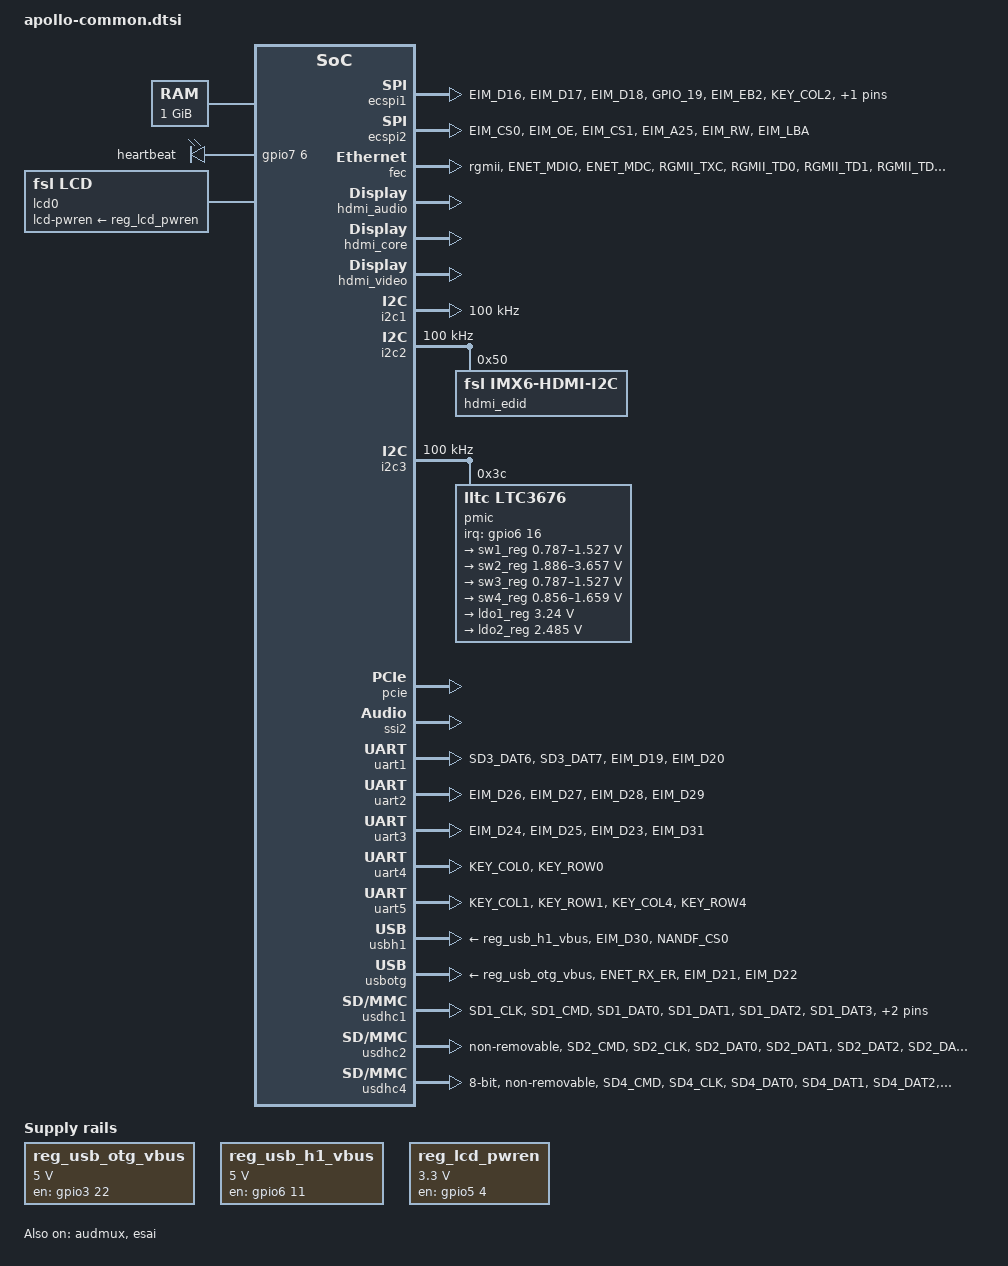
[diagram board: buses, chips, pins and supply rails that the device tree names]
/*
 * Copyright 2012 Freescale Semiconductor, Inc.
 * Copyright 2011 Linaro Ltd.
 *
 * The code contained herein is licensed under the GNU General Public
 * License. You may obtain a copy of the GNU General Public License
 * Version 2 or later at the following locations:
 *
 * http://www.opensource.org/licenses/gpl-license.html
 * http://www.gnu.org/copyleft/gpl.html
 */

#include <dt-bindings/interrupt-controller/irq.h>
#include "silverbullet-pinctrl.h"

/ {
	aliases {
		mxcfb0 = &mxcfb1;
		mxcfb1 = &mxcfb2;
		mxcfb2 = &mxcfb3;
		mxcfb3 = &mxcfb4;
	};

	memory {
		reg = <0x10000000 0x40000000>;
	};

	cpu-leds {
		compatible = "gpio-leds";

		heartbeat {
			label = "heartbeat";
			gpios = <&gpio7 6 0>;
			linux,default-trigger = "heartbeat";
			default-state = "off";
		};
	};

	regulators {
		compatible = "simple-bus";

		reg_usb_otg_vbus: usb_otg_vbus {
			compatible = "regulator-fixed";
			regulator-name = "usb_otg_vbus";
			regulator-min-microvolt = <5000000>;
			regulator-max-microvolt = <5000000>;
			gpio = <&gpio3 22 0>;
			enable-active-high;
		};

		reg_usb_h1_vbus: usb_h1_vbus {
			compatible = "regulator-fixed";
			regulator-name = "usb_h1_vbus";
			regulator-min-microvolt = <5000000>;
			regulator-max-microvolt = <5000000>;
			gpio = <&gpio6 11 0>;
			enable-active-high;
		};

		reg_lcd_pwren: lcd_pwren {
			compatible = "regulator-fixed";
			regulator-name = "lcd_pwren";
			regulator-min-microvolt = <3300000>;
			regulator-max-microvolt = <3300000>;
			gpio = <&gpio5 4 0>;
			enable-active-high;
		};

		reg_3v3_ldo: ldo0 {
			regulator-min-microvolt = <3300000>;
			regulator-max-microvolt = <3300000>;
			regulator-always-on;
		};

		reg_3v3_sd: dcdc1 {
			regulator-min-microvolt = <3300000>;
			regulator-max-microvolt = <3300000>;
			regulator-always-on;
		};
	};

	sound-hdmi {
		compatible = "fsl,imx6q-audio-hdmi", "fsl,imx-audio-hdmi";
		model = "imx-audio-hdmi";
		hdmi-controller = <&hdmi_audio>;
	};

	mxcfb1: fb@0 {
		compatible = "fsl,mxc_sdc_fb";
		disp_dev = "lcd";
		interface_pix_fmt = "RGB24";
		mode_str ="SAMSUNG-LMS700";
		default_bpp = <16>;
		int_clk = <0>;
		late_init = <0>;
		status = "ok";
	};

	mxcfb2: fb@1 {
		compatible = "fsl,mxc_sdc_fb";
		disp_dev = "hdmi";
		interface_pix_fmt = "RGB24";
		mode_str ="1920x1080M@60";
		default_bpp = <24>;
		int_clk = <0>;
		late_init = <0>;
		status = "ok";
	};

	mxcfb3: fb@2 {
		compatible = "fsl,mxc_sdc_fb";
		disp_dev = "lcd";
		interface_pix_fmt = "RGB565";
		mode_str ="CLAA-WVGA";
		default_bpp = <16>;
		int_clk = <0>;
		late_init = <0>;
		status = "disabled";
	};

	mxcfb4: fb@3 {
		compatible = "fsl,mxc_sdc_fb";
		disp_dev = "ldb";
		interface_pix_fmt = "RGB666";
		mode_str ="LDB-XGA";
		default_bpp = <16>;
		int_clk = <0>;
		late_init = <0>;
		status = "disabled";
	};

	lcd0: lcd@0 {
		compatible = "fsl,lcd";
		ipu_id = <0>;
		disp_id = <0>;
		default_ifmt = "RGB24";
		pinctrl-names = "default";
		pinctrl-0 = <&pinctrl_lcd>;
		lcd-pwren-supply = <&reg_lcd_pwren>;
		status = "okay";
	};

	v4l2_cap_0 {
		compatible = "fsl,imx6q-v4l2-capture";
		ipu_id = <0>;
		csi_id = <0>;
		mclk_source = <0>;
		status = "okay";
	};

	/* //!!
	v4l2_cap_1 {
		compatible = "fsl,imx6q-v4l2-capture";
		ipu_id = <0>;
		csi_id = <1>;
		mclk_source = <0>;
		status = "okay";
	};
	*/

	v4l2_out {
		compatible = "fsl,mxc_v4l2_output";
		status = "okay";
	};
};

&audmux {
	pinctrl-names = "default";
	pinctrl-0 = <&pinctrl_audmux>;
	status = "okay";
};

&cpu0 {
	arm-supply = <&sw3_reg>;
	soc-supply = <&sw1_reg>;
	pu-supply = <&reg_pu>; /* ldo-bypass */
};

&ecspi1 {
	fsl,spi-num-chipselects = <3>;
	cs-gpios = <&gpio2 30 0>, <&gpio4 10 0>, <&gpio4 11 0>;
	pinctrl-names = "default";
	pinctrl-0 = <&pinctrl_ecspi1>;
	status = "okay";
};

&ecspi2 {
	fsl,spi-num-chipselects = <2>;
	cs-gpios = <&gpio2 26 0>, <&gpio2 27 0>;
	pinctrl-names = "default";
	pinctrl-0 = <&pinctrl_ecspi2>;
	status = "okay";
};

&esai {
	pinctrl-names = "default";
	pinctrl-0 = <&pinctrl_esai>;
	status = "okay";
};

&fec {
	pinctrl-names = "default";
	pinctrl-0 = <&pinctrl_enet>;
	phy-mode = "rgmii";
	//phy-reset-gpios = <&gpio1 28 0>;	// let the reset task to U-Boot
	//phy-reset-duration = <100>;		// or phy won't work correctly!
	status = "okay";
};

&gpc {
	fsl,cpu_pupscr_sw2iso = <0xf>;
	fsl,cpu_pupscr_sw = <0xf>;
	fsl,cpu_pdnscr_iso2sw = <0x1>;
	fsl,cpu_pdnscr_iso = <0x1>;
	fsl,ldo-bypass = <1>; /* use ldo-bypass, u-boot will check it and configure */
	fsl,wdog-reset = <1>; /* watchdog select of reset source */
	pu-supply = <&reg_pu>; /* ldo-bypass:use pu_dummy if VDDSOC share with VDDPU */
};


//!!
//&gpu {
//	pu-supply = <&reg_pu>; /* ldo-bypass:use pu_dummy if VDDSOC share with VDDPU */
//};

&hdmi_audio {
	status = "okay";
};

&hdmi_core {
	ipu_id = <0>;
	disp_id = <1>;
	status = "okay";
};

&hdmi_video {
	fsl,phy_reg_vlev = <0x0294>;
	fsl,phy_reg_cksymtx = <0x800d>;
	status = "okay";
};

//!!
//&hdmi {
//	pinctrl-names = "default";
//	pinctrl-0 = <&pinctrl_hdmi>;
//	ddc-i2c-bus = <&i2c2>;
//	status = "okay";
//};

&ldb {
	ipu_id = <0>;
	disp_id = <1>;
	ext_ref = <1>;
	mode = "sep1";
	sec_ipu_id = <1>;
	sec_disp_id = <0>;
	/* status = "okay"; */
};

&i2c1 {
	clock-frequency = <100000>;
	pinctrl-names = "default";
	/* pinctrl-0 = <&pinctrl_i2c1_2>; */
	status = "okay";

	/*
	clicktouch_ts@1f {
		compatible = "clicktouch_ts";
		reg = <0x1f>;
	};
	*/

	/*
	isl29023@44 {
		compatible = "fsl,isl29023";
		reg = <0x44>;
		rext = <100>;
		vdd-supply = <&reg_3v3_ldo>;
		//interrupt-parent = <&id95apm>;// FIXME: need idt gpio irq
		//interrupts = <1 IRQ_TYPE_EDGE_FALLING>;
	};
	*/


        /*
	adv7180: adv7180@21 {
		compatible = "adv,adv7180";
		reg = <0x21>;
		pinctrl-names = "default";
		pinctrl-0 = <&pinctrl_csi>;
		clocks = <&clks 201>;
		clock-names = "csi_mclk";
		DOVDD-supply = <&reg_3p3v>;
		AVDD-supply = <&reg_1p8v>;
		DVDD-supply = <&reg_1p8v>;
		PVDD-supply = <&reg_1p8v>;
		prst-gpios = <&gpio5 29 1>;
		csi_id = <0>;
		mclk = <24000000>;
		mclk_source = <0>;
		cvbs = <1>;

		port {
			adv7180_1: endpoint {
				remote-endpoint = <&csi0>;
				bus-width = <8>;
				data-shift = <12>;
				hsync-active = <1>;
				vsync-active = <1>;
				inputs = <0x00>;
				input-names = "ADV7180 composite on AIN1";
			};
		};
	};
        */

};

&i2c2 {
	clock-frequency = <100000>;
	pinctrl-names = "default";
	/* //!! pinctrl-0 = <&pinctrl_i2c2_2>; */
	status = "okay";

	hdmi_edid: edid@50 {
		compatible = "fsl,imx6-hdmi-i2c";
		reg = <0x50>;
	};
};

&i2c3 {
	clock-frequency = <100000>;
	pinctrl-names = "default";
	/* //!! pinctrl-0 = <&pinctrl_i2c3_2>; */
	status = "okay";

	pmic: ltc3676@3c {						// Power Management LTC3676EUJ#PBF
		compatible = "lltc,ltc3676";
 		reg = <0x3c>;

		interrupt-parent = <&gpio6>;
		interrupts = <16 2>;
 
 		regulators {
			/* VCC_SOC */
			sw1_reg: sw1 {
				regulator-min-microvolt = <787500>;
				regulator-max-microvolt = <1527272>;
				lltc,fb-voltage-divider = <178000 200000>;
				regulator-suspend-mem-microvolt = <1040000>;
				regulator-ramp-delay = <7000>;
 				regulator-boot-on;
 				regulator-always-on;
 			};

			/* VCC_3V3 */
			sw2_reg: sw2 {
				regulator-min-microvolt = <1885714>;
				regulator-max-microvolt = <3657142>;
				lltc,fb-voltage-divider = <100000 28000>;
				regulator-ramp-delay = <7000>;
 				regulator-boot-on;
 				regulator-always-on;
 			};

			/* VCC_ARM */
			sw3_reg: sw3 {
				regulator-min-microvolt = <787500>;
				regulator-max-microvolt = <1527272>;
				lltc,fb-voltage-divider = <178000 200000>;
				regulator-suspend-mem-microvolt = <980000>;
				regulator-ramp-delay = <7000>;
 				regulator-boot-on;
 				regulator-always-on;
 			};

			/* VCC_DDR3 */	
			sw4_reg: sw4 {
				regulator-min-microvolt = <855571>;
				regulator-max-microvolt = <1659291>;
				lltc,fb-voltage-divider = <100000 93100>;
				regulator-ramp-delay = <7000>;
 				regulator-boot-on;
 				regulator-always-on;
 			};

			/* VCC_SNVS */
			ldo1_reg: ldo1 {
				regulator-min-microvolt = <3240306>;
				regulator-max-microvolt = <3240306>;
				lltc,fb-voltage-divider = <102000 29400>;
 				regulator-boot-on;
 				regulator-always-on;
 			};

			/* VCC_2V5_LDO2 */
			ldo2_reg: ldo2 {
				regulator-min-microvolt = <2484708>;
				regulator-max-microvolt = <2484708>;
				lltc,fb-voltage-divider = <100000 41200>;
				regulator-boot-on;
				regulator-always-on;
 			};
 		};
	};
};

&iomuxc {
	pinctrl-names = "default";
	pinctrl-0 = <&pinctrl_hog>;

	silverbullet {
		pinctrl_hog: hoggrp {
			fsl,pins = <
				MX6QDL_PAD_GPIO_0__CCM_CLKO1            0x030b0		// SGTL5000 sys_mclk
				MX6QDL_PAD_NANDF_D0__GPIO2_IO00		PAD_CTL_NONE	// GPIO/nIRQ0
				MX6QDL_PAD_NANDF_D1__GPIO2_IO01		PAD_CTL_NONE	// GPIO/nIRQ1
				MX6QDL_PAD_NANDF_D2__GPIO2_IO02		PAD_CTL_NONE	// GPIO/nIRQ2
				MX6QDL_PAD_NANDF_D3__GPIO2_IO03		PAD_CTL_NONE	// GPIO/nIRQ3
				MX6QDL_PAD_NANDF_D4__GPIO2_IO04		PAD_CTL_NONE	// GPIO/nIRQ4
				MX6QDL_PAD_NANDF_D5__GPIO2_IO05		PAD_CTL_NONE	// GPIO/nIRQ5
				MX6QDL_PAD_NANDF_D6__GPIO2_IO06		PAD_CTL_NONE	// GPIO/nIRQ6
				MX6QDL_PAD_NANDF_D7__GPIO2_IO07		PAD_CTL_NONE	// GPIO/nIRQ7
				MX6QDL_PAD_NANDF_CLE__GPIO6_IO07	PAD_CTL_NONE	// GPIO8
				MX6QDL_PAD_NANDF_WP_B__GPIO6_IO09	PAD_CTL_NONE	// GPIO9
				MX6QDL_PAD_NANDF_RB0__GPIO6_IO10	PAD_CTL_NONE	// GPIO10
				/* MX6QDL_PAD_CSI0_DATA_EN__GPIO5_IO20	PAD_CTL_NONE	// GPIO11 */ //!!
				MX6QDL_PAD_SD3_DAT2__GPIO7_IO06		PAD_CTL_NONE	// GPIO12
				MX6QDL_PAD_SD3_DAT3__GPIO7_IO07		PAD_CTL_NONE	// GPIO13
				MX6QDL_PAD_SD3_DAT4__GPIO7_IO01		PAD_CTL_NONE	// GPIO14
				MX6QDL_PAD_SD3_DAT5__GPIO7_IO00		PAD_CTL_NONE	// GPIO15
				MX6QDL_PAD_NANDF_CS3__GPIO6_IO16	PAD_CTL_NONE	// LTC3676 irq
				MX6QDL_PAD_SD3_RST__GPIO7_IO08		PAD_CTL_NONE	// ID95APM irq
				MX6QDL_PAD_EIM_EB0__GPIO2_IO28		PAD_CTL_NONE	// SYS_ALIVE
				MX6QDL_PAD_EIM_EB1__GPIO2_IO29		PAD_CTL_NONE	// PSWITCH_PULSE
				MX6QDL_PAD_DI0_PIN4__GPIO4_IO20		PAD_CTL_NONE	// LVDS backlight control
				MX6QDL_PAD_ENET_TXD1__GPIO1_IO29	PAD_CTL_NONE	// UART5 DTR
				MX6QDL_PAD_EIM_A16__GPIO2_IO22		PAD_CTL_NONE	// UART5 DCD
				MX6QDL_PAD_EIM_A17__GPIO2_IO21		PAD_CTL_NONE	// UART5 RI
				MX6QDL_PAD_EIM_A19__GPIO2_IO19		PAD_CTL_NONE	// UART5 DSR
			>;
		};

		pinctrl_audmux: audmuxgrp {
			fsl,pins = <
				MX6QDL_PAD_CSI0_DAT4__AUD3_TXC		SILVERBULLET_PAD_CTRL_AUD
				MX6QDL_PAD_CSI0_DAT5__AUD3_TXD		SILVERBULLET_PAD_CTRL_AUD
				MX6QDL_PAD_CSI0_DAT6__AUD3_TXFS		SILVERBULLET_PAD_CTRL_AUD
				MX6QDL_PAD_CSI0_DAT7__AUD3_RXD		SILVERBULLET_PAD_CTRL_AUD
			>;
		};

		pinctrl_esai: esaigrp {
			fsl,pins = <
				MX6QDL_PAD_EIM_BCLK__GPIO6_IO31		PAD_CTL_NONE	// reset
				MX6QDL_PAD_ENET_CRS_DV__ESAI_TX_CLK	SILVERBULLET_PAD_CTL_ESAI
				MX6QDL_PAD_GPIO_1__ESAI_RX_CLK		SILVERBULLET_PAD_CTL_ESAI
				MX6QDL_PAD_GPIO_2__ESAI_TX_FS		SILVERBULLET_PAD_CTL_ESAI
				MX6QDL_PAD_GPIO_5__ESAI_TX2_RX3		SILVERBULLET_PAD_CTL_ESAI
				MX6QDL_PAD_GPIO_7__ESAI_TX4_RX1		SILVERBULLET_PAD_CTL_ESAI
				MX6QDL_PAD_GPIO_8__ESAI_TX5_RX0		SILVERBULLET_PAD_CTL_ESAI
				MX6QDL_PAD_GPIO_9__ESAI_RX_FS		SILVERBULLET_PAD_CTL_ESAI
				MX6QDL_PAD_GPIO_17__ESAI_TX0		SILVERBULLET_PAD_CTL_ESAI
				MX6QDL_PAD_GPIO_18__ESAI_TX1		SILVERBULLET_PAD_CTL_ESAI
			>;
		};

		pinctrl_ecspi1: ecspi1grp {
			fsl,pins = <
				MX6QDL_PAD_EIM_D16__ECSPI1_SCLK		SILVERBULLET_PAD_CTRL_ECSPI
				MX6QDL_PAD_EIM_D17__ECSPI1_MISO		SILVERBULLET_PAD_CTRL_ECSPI
				MX6QDL_PAD_EIM_D18__ECSPI1_MOSI		SILVERBULLET_PAD_CTRL_ECSPI
				MX6QDL_PAD_GPIO_19__ECSPI1_RDY		SILVERBULLET_PAD_CTRL_ECSPI
				MX6QDL_PAD_EIM_EB2__GPIO2_IO30		SILVERBULLET_PAD_CTRL_ECSPI
				MX6QDL_PAD_KEY_COL2__GPIO4_IO10		SILVERBULLET_PAD_CTRL_ECSPI
				MX6QDL_PAD_KEY_ROW2__GPIO4_IO11		SILVERBULLET_PAD_CTRL_ECSPI
			>;
		};

		pinctrl_ecspi2: ecspi2grp {
			fsl,pins = <
				MX6QDL_PAD_EIM_CS0__ECSPI2_SCLK		SILVERBULLET_PAD_CTRL_ECSPI
				MX6QDL_PAD_EIM_OE__ECSPI2_MISO		SILVERBULLET_PAD_CTRL_ECSPI
				MX6QDL_PAD_EIM_CS1__ECSPI2_MOSI		SILVERBULLET_PAD_CTRL_ECSPI
				MX6QDL_PAD_EIM_A25__ECSPI2_RDY		SILVERBULLET_PAD_CTRL_ECSPI
				MX6QDL_PAD_EIM_RW__GPIO2_IO26		SILVERBULLET_PAD_CTRL_ECSPI
				MX6QDL_PAD_EIM_LBA__GPIO2_IO27		SILVERBULLET_PAD_CTRL_ECSPI
			>;
		};

		pinctrl_enet: enetgrp {
			fsl,pins = <
				MX6QDL_PAD_ENET_MDIO__ENET_MDIO		SILVERBULLET_PAD_CTRL_ENET
				MX6QDL_PAD_ENET_MDC__ENET_MDC		SILVERBULLET_PAD_CTRL_ENET
				MX6QDL_PAD_RGMII_TXC__RGMII_TXC		SILVERBULLET_PAD_CTRL_ENET
				MX6QDL_PAD_RGMII_TD0__RGMII_TD0		SILVERBULLET_PAD_CTRL_ENET
				MX6QDL_PAD_RGMII_TD1__RGMII_TD1		SILVERBULLET_PAD_CTRL_ENET
				MX6QDL_PAD_RGMII_TD2__RGMII_TD2		SILVERBULLET_PAD_CTRL_ENET
				MX6QDL_PAD_RGMII_TD3__RGMII_TD3		SILVERBULLET_PAD_CTRL_ENET
				MX6QDL_PAD_RGMII_TX_CTL__RGMII_TX_CTL	SILVERBULLET_PAD_CTRL_ENET
				MX6QDL_PAD_ENET_REF_CLK__ENET_TX_CLK	SILVERBULLET_PAD_CTRL_ENET
				MX6QDL_PAD_RGMII_RXC__RGMII_RXC		SILVERBULLET_PAD_CTRL_ENET
				MX6QDL_PAD_RGMII_RD0__RGMII_RD0		SILVERBULLET_PAD_CTRL_ENET
				MX6QDL_PAD_RGMII_RD1__RGMII_RD1		SILVERBULLET_PAD_CTRL_ENET
				MX6QDL_PAD_RGMII_RD2__RGMII_RD2		SILVERBULLET_PAD_CTRL_ENET
				MX6QDL_PAD_RGMII_RD3__RGMII_RD3		SILVERBULLET_PAD_CTRL_ENET
				MX6QDL_PAD_RGMII_RX_CTL__RGMII_RX_CTL	SILVERBULLET_PAD_CTRL_ENET
				MX6QDL_PAD_ENET_RXD1__GPIO1_IO26	SILVERBULLET_PAD_CTRL_ENET	/* RGMII Phy irq */
				MX6QDL_PAD_ENET_TX_EN__GPIO1_IO28	SILVERBULLET_PAD_CTRL_ENET	/* RGMII reset */
			>;
		};

		pinctrl_hdmi: hdmigrp {
			fsl,pins = <
				MX6QDL_PAD_KEY_ROW2__HDMI_TX_CEC_LINE	0x1f8b0
			>;
		};

		pinctrl_i2c1: i2c1grp {
			fsl,pins = <
				MX6QDL_PAD_CSI0_DAT8__I2C1_SDA		SILVERBULLET_PAD_CTRL_I2C
				MX6QDL_PAD_CSI0_DAT9__I2C1_SCL		SILVERBULLET_PAD_CTRL_I2C
			>;
		};

		pinctrl_i2c2: i2c2grp {
			fsl,pins = <
				MX6QDL_PAD_KEY_COL3__I2C2_SCL		SILVERBULLET_PAD_CTRL_I2C
				MX6QDL_PAD_KEY_ROW3__I2C2_SDA		SILVERBULLET_PAD_CTRL_I2C
			>;
		};

		pinctrl_i2c3: i2c3grp {
			fsl,pins = <
				MX6QDL_PAD_GPIO_3__I2C3_SCL		SILVERBULLET_PAD_CTRL_I2C
				MX6QDL_PAD_GPIO_6__I2C3_SDA		SILVERBULLET_PAD_CTRL_I2C
			>;
		};

		pinctrl_lcd: lcdgrp {
			fsl,pins = <
				MX6QDL_PAD_EIM_A24__GPIO5_IO04			PAD_CTL_NONE		// LCD power enable
				MX6QDL_PAD_EIM_WAIT__GPIO5_IO00			PAD_CTL_NONE		// LCD reset
				MX6QDL_PAD_DI0_DISP_CLK__IPU1_DI0_DISP_CLK	PAD_CTL_DSE_120ohm
				MX6QDL_PAD_DI0_PIN2__IPU1_DI0_PIN02		PAD_CTL_DSE_120ohm	// HSync
				MX6QDL_PAD_DI0_PIN3__IPU1_DI0_PIN03		PAD_CTL_DSE_120ohm	// VSync
				MX6QDL_PAD_DI0_PIN15__IPU1_DI0_PIN15		PAD_CTL_DSE_120ohm	// Data enable
				MX6QDL_PAD_DISP0_DAT0__IPU1_DISP0_DATA00	PAD_CTL_DSE_120ohm
				MX6QDL_PAD_DISP0_DAT1__IPU1_DISP0_DATA01	PAD_CTL_DSE_120ohm
				MX6QDL_PAD_DISP0_DAT2__IPU1_DISP0_DATA02	PAD_CTL_DSE_120ohm
				MX6QDL_PAD_DISP0_DAT3__IPU1_DISP0_DATA03	PAD_CTL_DSE_120ohm
				MX6QDL_PAD_DISP0_DAT4__IPU1_DISP0_DATA04	PAD_CTL_DSE_120ohm
				MX6QDL_PAD_DISP0_DAT5__IPU1_DISP0_DATA05	PAD_CTL_DSE_120ohm
				MX6QDL_PAD_DISP0_DAT6__IPU1_DISP0_DATA06	PAD_CTL_DSE_120ohm
				MX6QDL_PAD_DISP0_DAT7__IPU1_DISP0_DATA07	PAD_CTL_DSE_120ohm
				MX6QDL_PAD_DISP0_DAT8__IPU1_DISP0_DATA08	PAD_CTL_DSE_120ohm
				MX6QDL_PAD_DISP0_DAT9__IPU1_DISP0_DATA09	PAD_CTL_DSE_120ohm
				MX6QDL_PAD_DISP0_DAT10__IPU1_DISP0_DATA10	PAD_CTL_DSE_120ohm
				MX6QDL_PAD_DISP0_DAT11__IPU1_DISP0_DATA11	PAD_CTL_DSE_120ohm
				MX6QDL_PAD_DISP0_DAT12__IPU1_DISP0_DATA12	PAD_CTL_DSE_120ohm
				MX6QDL_PAD_DISP0_DAT13__IPU1_DISP0_DATA13	PAD_CTL_DSE_120ohm
				MX6QDL_PAD_DISP0_DAT14__IPU1_DISP0_DATA14	PAD_CTL_DSE_120ohm
				MX6QDL_PAD_DISP0_DAT15__IPU1_DISP0_DATA15	PAD_CTL_DSE_120ohm
				MX6QDL_PAD_DISP0_DAT16__IPU1_DISP0_DATA16	PAD_CTL_DSE_120ohm
				MX6QDL_PAD_DISP0_DAT17__IPU1_DISP0_DATA17	PAD_CTL_DSE_120ohm
				MX6QDL_PAD_DISP0_DAT18__IPU1_DISP0_DATA18	PAD_CTL_DSE_120ohm
				MX6QDL_PAD_DISP0_DAT19__IPU1_DISP0_DATA19	PAD_CTL_DSE_120ohm
				MX6QDL_PAD_DISP0_DAT20__IPU1_DISP0_DATA20	PAD_CTL_DSE_120ohm
				MX6QDL_PAD_DISP0_DAT21__IPU1_DISP0_DATA21	PAD_CTL_DSE_120ohm
				MX6QDL_PAD_DISP0_DAT22__IPU1_DISP0_DATA22	PAD_CTL_DSE_120ohm
				MX6QDL_PAD_DISP0_DAT23__IPU1_DISP0_DATA23	PAD_CTL_DSE_120ohm
			>;
		};

		pinctrl_flexcan1: flexcan1grp {
			fsl,pins = <
				MX6QDL_PAD_SD3_CLK__FLEXCAN1_RX		PAD_CTL_NONE
				MX6QDL_PAD_SD3_CMD__FLEXCAN1_TX		PAD_CTL_NONE
			>;
		};

		pinctrl_flexcan2: flexcan2grp {
			fsl,pins = <
				MX6QDL_PAD_SD3_DAT1__FLEXCAN2_RX	PAD_CTL_NONE
				MX6QDL_PAD_SD3_DAT0__FLEXCAN2_TX	PAD_CTL_NONE
			>;
		};

		pinctrl_uart1: uart1grp {
			fsl,pins = <
				MX6QDL_PAD_SD3_DAT6__UART1_RX_DATA	SILVERBULLET_PAD_CTRL_UART
				MX6QDL_PAD_SD3_DAT7__UART1_TX_DATA	SILVERBULLET_PAD_CTRL_UART
				MX6QDL_PAD_EIM_D19__UART1_CTS_B		SILVERBULLET_PAD_CTRL_UART
				MX6QDL_PAD_EIM_D20__UART1_RTS_B		SILVERBULLET_PAD_CTRL_UART
			>;
		};

		pinctrl_uart2: uart2grp {
			fsl,pins = <
				MX6QDL_PAD_EIM_D26__UART2_TX_DATA	SILVERBULLET_PAD_CTRL_UART
				MX6QDL_PAD_EIM_D27__UART2_RX_DATA	SILVERBULLET_PAD_CTRL_UART
				MX6QDL_PAD_EIM_D28__UART2_CTS_B		SILVERBULLET_PAD_CTRL_UART
				MX6QDL_PAD_EIM_D29__UART2_RTS_B		SILVERBULLET_PAD_CTRL_UART
			>;
		};

		pinctrl_uart3: uart3grp {
			fsl,pins = <
				MX6QDL_PAD_EIM_D24__UART3_TX_DATA	SILVERBULLET_PAD_CTRL_UART
				MX6QDL_PAD_EIM_D25__UART3_RX_DATA	SILVERBULLET_PAD_CTRL_UART
				MX6QDL_PAD_EIM_D23__UART3_CTS_B		SILVERBULLET_PAD_CTRL_UART
				MX6QDL_PAD_EIM_D31__UART3_RTS_B		SILVERBULLET_PAD_CTRL_UART
			>;
		};

		pinctrl_uart4: uart4grp {
			fsl,pins = <
				MX6QDL_PAD_KEY_COL0__UART4_TX_DATA	SILVERBULLET_PAD_CTRL_UART
				MX6QDL_PAD_KEY_ROW0__UART4_RX_DATA	SILVERBULLET_PAD_CTRL_UART
			>;
		};

		pinctrl_uart5: uart5grp {
			fsl,pins = <
				MX6QDL_PAD_KEY_COL1__UART5_TX_DATA	SILVERBULLET_PAD_CTRL_UART
				MX6QDL_PAD_KEY_ROW1__UART5_RX_DATA	SILVERBULLET_PAD_CTRL_UART
				MX6QDL_PAD_KEY_COL4__UART5_RTS_B	SILVERBULLET_PAD_CTRL_UART
				MX6QDL_PAD_KEY_ROW4__UART5_CTS_B	SILVERBULLET_PAD_CTRL_UART
			>;
		};

		pinctrl_usbotg: usbotggrp {
			fsl,pins = <
				MX6QDL_PAD_ENET_RX_ER__USB_OTG_ID	SILVERBULLET_PAD_CTRL_USB_OTG_ID
				MX6QDL_PAD_EIM_D21__USB_OTG_OC		SILVERBULLET_PAD_CTRL_USB_OC
				MX6QDL_PAD_EIM_D22__GPIO3_IO22		PAD_CTL_NONE
			>;
		};

		pinctrl_usbh1: usbh1grp {
			fsl,pins = <
				MX6QDL_PAD_EIM_D30__USB_H1_OC		SILVERBULLET_PAD_CTRL_USB_OC
				MX6QDL_PAD_NANDF_CS0__GPIO6_IO11	PAD_CTL_NONE
			>;
		};

		pinctrl_usdhc1: usdhc1grp {
			fsl,pins = <
				MX6QDL_PAD_SD1_CLK__SD1_CLK		SILVERBULLET_PAD_CTRL_SD_SPEED_LOW
				MX6QDL_PAD_SD1_CMD__SD1_CMD		SILVERBULLET_PAD_CTRL_SD_SPEED_LOW
				MX6QDL_PAD_SD1_DAT0__SD1_DATA0		SILVERBULLET_PAD_CTRL_SD_SPEED_LOW
				MX6QDL_PAD_SD1_DAT1__SD1_DATA1		SILVERBULLET_PAD_CTRL_SD_SPEED_LOW
				MX6QDL_PAD_SD1_DAT2__SD1_DATA2		SILVERBULLET_PAD_CTRL_SD_SPEED_LOW
				MX6QDL_PAD_SD1_DAT3__SD1_DATA3		SILVERBULLET_PAD_CTRL_SD_SPEED_LOW
				MX6QDL_PAD_NANDF_CS1__GPIO6_IO14	PAD_CTL_NONE	/* SD1 cd */
				MX6QDL_PAD_NANDF_CS2__GPIO6_IO15	PAD_CTL_NONE	/* SD1 wp */
			>;
		};

		pinctrl_usdhc2: usdhc2grp {
			fsl,pins = <
				MX6QDL_PAD_SD2_CMD__SD2_CMD		SILVERBULLET_PAD_CTRL_SD_SPEED_LOW
				MX6QDL_PAD_SD2_CLK__SD2_CLK		SILVERBULLET_PAD_CTRL_SD_SPEED_LOW
				MX6QDL_PAD_SD2_DAT0__SD2_DATA0		SILVERBULLET_PAD_CTRL_SD_SPEED_LOW
				MX6QDL_PAD_SD2_DAT1__SD2_DATA1		SILVERBULLET_PAD_CTRL_SD_SPEED_LOW
				MX6QDL_PAD_SD2_DAT2__SD2_DATA2		SILVERBULLET_PAD_CTRL_SD_SPEED_LOW
				MX6QDL_PAD_SD2_DAT3__SD2_DATA3		SILVERBULLET_PAD_CTRL_SD_SPEED_LOW
			>;
		};

		pinctrl_usdhc4: usdhc4grp {
			fsl,pins = <
				MX6QDL_PAD_SD4_CMD__SD4_CMD		SILVERBULLET_PAD_CTRL_SD_SPEED_LOW
				MX6QDL_PAD_SD4_CLK__SD4_CLK		SILVERBULLET_PAD_CTRL_SD_SPEED_LOW
				MX6QDL_PAD_SD4_DAT0__SD4_DATA0		SILVERBULLET_PAD_CTRL_SD_SPEED_LOW
				MX6QDL_PAD_SD4_DAT1__SD4_DATA1		SILVERBULLET_PAD_CTRL_SD_SPEED_LOW
				MX6QDL_PAD_SD4_DAT2__SD4_DATA2		SILVERBULLET_PAD_CTRL_SD_SPEED_LOW
				MX6QDL_PAD_SD4_DAT3__SD4_DATA3		SILVERBULLET_PAD_CTRL_SD_SPEED_LOW
				MX6QDL_PAD_SD4_DAT4__SD4_DATA4		SILVERBULLET_PAD_CTRL_SD_SPEED_LOW
				MX6QDL_PAD_SD4_DAT5__SD4_DATA5		SILVERBULLET_PAD_CTRL_SD_SPEED_LOW
				MX6QDL_PAD_SD4_DAT6__SD4_DATA6		SILVERBULLET_PAD_CTRL_SD_SPEED_LOW
				MX6QDL_PAD_SD4_DAT7__SD4_DATA7		SILVERBULLET_PAD_CTRL_SD_SPEED_LOW
				MX6QDL_PAD_NANDF_ALE__GPIO6_IO08	PAD_CTL_NONE	/* SD4 reset */
			>;
		};

		pinctrl_csi: csigrp {
			fsl,pins = <
				MX6QDL_PAD_CSI0_MCLK__IPU1_CSI0_HSYNC		PAD_CTL_NONE
				MX6QDL_PAD_CSI0_PIXCLK__IPU1_CSI0_PIXCLK	PAD_CTL_NONE
				MX6QDL_PAD_CSI0_VSYNC__IPU1_CSI0_VSYNC		PAD_CTL_NONE
				MX6QDL_PAD_CSI0_DAT10__GPIO5_IO28		PAD_CTL_NONE	/* camera CTL */
				MX6QDL_PAD_CSI0_DAT11__GPIO5_IO29		PAD_CTL_NONE	/* camera RESET */
				MX6QDL_PAD_CSI0_DAT12__IPU1_CSI0_DATA12		PAD_CTL_NONE
				MX6QDL_PAD_CSI0_DAT13__IPU1_CSI0_DATA13		PAD_CTL_NONE
				MX6QDL_PAD_CSI0_DAT14__IPU1_CSI0_DATA14		PAD_CTL_NONE
				MX6QDL_PAD_CSI0_DAT15__IPU1_CSI0_DATA15		PAD_CTL_NONE
				MX6QDL_PAD_CSI0_DAT16__IPU1_CSI0_DATA16		PAD_CTL_NONE
				MX6QDL_PAD_CSI0_DAT17__IPU1_CSI0_DATA17		PAD_CTL_NONE
				MX6QDL_PAD_CSI0_DAT18__IPU1_CSI0_DATA18		PAD_CTL_NONE
				MX6QDL_PAD_CSI0_DAT19__IPU1_CSI0_DATA19		PAD_CTL_NONE
			>;
		};
	};
};

//!!
//&flexcan1 {
//        pinctrl-names = "default";
//        pinctrl-0 = <&pinctrl_flexcan1>;
//        status = "okay";
//};

//!!
//&flexcan2 {
//        pinctrl-names = "default";
//        pinctrl-0 = <&pinctrl_flexcan2>;
//        status = "okay";
//};

&pcie {
	status = "okay";
};


//!!
//&ipu1_csi0 {
//	#address-cells = <1>;
//        #size-cells = <0>;
//
//	csi0: endpoint@0 {
//		reg = <0>;
//		remote-endpoint = <&adv7180_1>;
//	};
//};

&ssi2 {
	fsl,mode = "i2s-slave";
	status = "okay";
};

&uart1 {
	pinctrl-names = "default";
	pinctrl-0 = <&pinctrl_uart1>;
	status = "okay";
};

&uart2 {
	pinctrl-names = "default";
	pinctrl-0 = <&pinctrl_uart2>;
	status = "okay";
};

&uart3 {
	pinctrl-names = "default";
	pinctrl-0 = <&pinctrl_uart3>;
	status = "okay";
};

&uart4 {
	pinctrl-names = "default";
	pinctrl-0 = <&pinctrl_uart4>;
	status = "okay";
};

&uart5 {
	pinctrl-names = "default";
	pinctrl-0 = <&pinctrl_uart5>;
	status = "okay";
};

&usbh1 {
	vbus-supply = <&reg_usb_h1_vbus>;
	pinctrl-names = "default";
	pinctrl-0 = <&pinctrl_usbh1>;
	status = "okay";
};

&usbotg {
	vbus-supply = <&reg_usb_otg_vbus>;
	pinctrl-names = "default";
	pinctrl-0 = <&pinctrl_usbotg>;
	status = "okay";
};

&usdhc1 {
	pinctrl-names = "default";
	pinctrl-0 = <&pinctrl_usdhc1>;
	no-1-8-v;
	keep-power-in-suspend;
	status = "okay";
};

&usdhc2 {
	pinctrl-names = "default";
	pinctrl-0 = <&pinctrl_usdhc2>;
	non-removable;
	no-1-8-v;
	keep-power-in-suspend;
	enable-sdio-wakeup;
	status = "okay";
};

&usdhc4 {
	pinctrl-names = "default";
	pinctrl-0 = <&pinctrl_usdhc4>;
	bus-width = <8>;
	non-removable;
	no-1-8-v;
	keep-power-in-suspend;
	status = "okay";
};

&vpu {
	pu-supply = <&reg_pu>; /* ldo-bypass:use pu_dummy if VDDSOC share with VDDPU */
};
